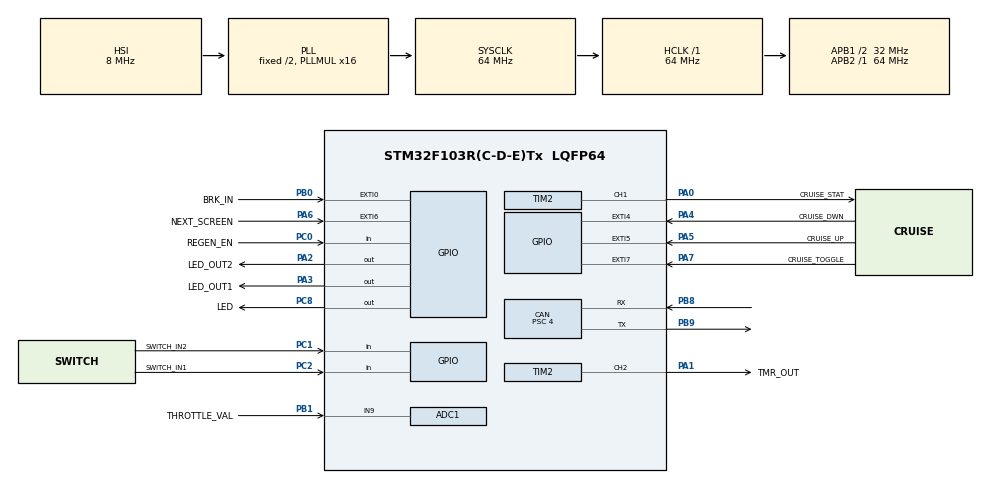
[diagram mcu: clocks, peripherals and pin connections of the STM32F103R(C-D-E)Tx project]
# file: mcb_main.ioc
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ADC1.Channel-1\#ChannelRegularConversion=ADC_CHANNEL_9
ADC1.NbrOfConversionFlag=1
ADC1.Rank-1\#ChannelRegularConversion=1
ADC1.SamplingTime-1\#ChannelRegularConversion=ADC_SAMPLETIME_1CYCLE_5
ADC1.master=1
CAN.BS1=CAN_BS1_13TQ
CAN.BS2=CAN_BS2_2TQ
CAN.CalculateBaudRate=500000
CAN.CalculateTimeBit=2000
CAN.CalculateTimeQuantum=125.0
CAN.Prescaler=4
FREERTOS.Tasks01=defaultTask,24,128,StartDefaultTask,Default,NULL,Dynamic,NULL,NULL;drive_state_machine,32,128,task_drive_state_machine,Default,NULL,Dynamic,NULL,NULL;GetCANMessage,24,128,getCANMessage,Default,NULL,Dynamic,NULL,NULL;generic_100ms,24,128,task_generic_100ms,Default,NULL,Dynamic,NULL,NULL
FREERTOS.configMAX_TASK_NAME_LEN=32
FREERTOS.configTOTAL_HEAP_SIZE=10000
IWDG.Reload=2000
Mcu.Family=STM32F1
Mcu.Name=STM32F103R(C-D-E)Tx
Mcu.Package=LQFP64
NVIC.EXTI0_IRQn=true\:5\:0\:false\:false\:true\:false\:true\:true\:true
NVIC.EXTI4_IRQn=true\:5\:0\:false\:false\:true\:false\:true\:true\:true
NVIC.EXTI9_5_IRQn=true\:5\:0\:false\:false\:true\:false\:true\:true\:true
NVIC.PriorityGroup=NVIC_PRIORITYGROUP_4
NVIC.TIM4_IRQn=true\:15\:0\:false\:false\:true\:false\:false\:true\:true
NVIC.TimeBase=TIM4_IRQn
NVIC.TimeBaseIP=TIM4
PA0-WKUP.GPIO_Label=CRUISE_STAT
PA0-WKUP.Signal=S_TIM2_CH1_ETR
PA1.GPIO_Label=TMR_OUT
PA1.Signal=S_TIM2_CH2
PA13.GPIO_Label=TMS
PA13.Mode=Serial_Wire
PA13.Signal=SYS_JTMS-SWDIO
PA14.GPIO_Label=TCK
PA14.Mode=Serial_Wire
PA14.Signal=SYS_JTCK-SWCLK
PA2.GPIO_Label=LED_OUT2
PA2.Signal=GPIO_Output
PA3.GPIO_Label=LED_OUT1
PA3.Signal=GPIO_Output
PA4.GPIO_Label=CRUISE_DWN
PA4.GPIO_PuPd=GPIO_PULLDOWN
PA4.Signal=GPXTI4
PA5.GPIO_Label=CRUISE_UP
PA5.GPIO_PuPd=GPIO_PULLDOWN
PA5.Signal=GPXTI5
PA6.GPIO_Label=NEXT_SCREEN
PA6.GPIO_PuPd=GPIO_PULLDOWN
PA6.Signal=GPXTI6
PA7.GPIO_Label=CRUISE_TOGGLE
PA7.GPIO_PuPd=GPIO_PULLDOWN
PA7.Signal=GPXTI7
PB0.GPIO_Label=BRK_IN
PB0.GPIO_PuPd=GPIO_PULLDOWN
PB0.Signal=GPXTI0
PB1.GPIO_Label=THROTTLE_VAL
PB1.Signal=ADCx_IN9
PB3.GPIO_Label=SWO
PB3.Signal=SYS_JTDO-TRACESWO
PB8.Mode=CAN_Activate
PB8.Signal=CAN_RX
PB9.Mode=CAN_Activate
PB9.Signal=CAN_TX
PC0.GPIO_Label=REGEN_EN
PC0.GPIO_PuPd=GPIO_PULLDOWN
PC0.Signal=GPIO_Input
PC1.GPIO_Label=SWITCH_IN2
PC1.GPIO_PuPd=GPIO_PULLUP
PC1.Signal=GPIO_Input
PC14-OSC32_IN.Mode=LSE-External-Oscillator
PC14-OSC32_IN.Signal=RCC_OSC32_IN
PC15-OSC32_OUT.Mode=LSE-External-Oscillator
PC15-OSC32_OUT.Signal=RCC_OSC32_OUT
PC2.GPIO_Label=SWITCH_IN1
PC2.GPIO_PuPd=GPIO_PULLUP
PC2.Signal=GPIO_Input
PC8.GPIO_Label=LED
PC8.Signal=GPIO_Output
PD0-OSC_IN.Mode=HSE-External-Clock-Source
PD0-OSC_IN.Signal=RCC_OSC_IN
PD1-OSC_OUT.Mode=HSE-External-Clock-Source
PD1-OSC_OUT.Signal=RCC_OSC_OUT
ProjectManager.HeapSize=0x200
ProjectManager.StackSize=0x400
ProjectManager.TargetToolchain=STM32CubeIDE
RCC.AHBFreq_Value=64000000
RCC.APB1CLKDivider=RCC_HCLK_DIV2
RCC.APB1Freq_Value=32000000
RCC.APB1TimFreq_Value=64000000
RCC.APB2Freq_Value=64000000
RCC.APB2TimFreq_Value=64000000
RCC.HCLKFreq_Value=64000000
RCC.PLLMUL=RCC_PLL_MUL16
RCC.SYSCLKFreq_VALUE=64000000
RCC.SYSCLKSource=RCC_SYSCLKSOURCE_PLLCLK
RCC.USBFreq_Value=64000000
SH.ADCx_IN9.0=ADC1_IN9,IN9
SH.S_TIM2_CH1_ETR.0=TIM2_CH1,PWM Generation1 CH1
SH.S_TIM2_CH2.0=TIM2_CH2,PWM Generation2 CH2
TIM2.Channel-PWM\ Generation1\ CH1=TIM_CHANNEL_1
TIM2.Channel-PWM\ Generation2\ CH2=TIM_CHANNEL_2
VP_FREERTOS_VS_CMSIS_V2.Mode=CMSIS_V2
VP_IWDG_VS_IWDG.Mode=IWDG_Activate
VP_SYS_VS_tim4.Mode=TIM4
board=custom

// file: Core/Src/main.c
/* USER CODE BEGIN Header */
/**
  ******************************************************************************
  * @file           : main.c
  * @brief          : Main program body
  ******************************************************************************
  * @attention
  *
  * Copyright (c) 2023 STMicroelectronics.
  * All rights reserved.
  *
  * This software is licensed under terms that can be found in the LICENSE file
  * in the root directory of this software component.
  * If no LICENSE file comes with this software, it is provided AS-IS.
  *
  ******************************************************************************
  */
/* USER CODE END Header */
#include "main.h"
#include "cmsis_os.h"
#include "adc.h"
#include "can.h"
#include "tim.h"
#include "wwdg.h"
#include "gpio.h"

/* USER CODE BEGIN PV */
CAN_FilterTypeDef CAN_filter0;
CAN_FilterTypeDef CAN_filter1;
CAN_FilterTypeDef CAN_filter2;

CAN_RxHeaderTypeDef CAN_rx_header;
uint8_t CAN_rx_data[8];
/* USER CODE END PV */

void SystemClock_Config(void);
void MX_FREERTOS_Init(void);

int main(void)
{

  /* MCU Configuration--------------------------------------------------------*/

  /* Reset of all peripherals, Initializes the Flash interface and the Systick. */
  HAL_Init();

  /* Configure the system clock */
  SystemClock_Config();

  /* Initialize all configured peripherals */
  MX_GPIO_Init();
  MX_CAN_Init();
  MX_ADC1_Init();
  MX_TIM2_Init();
  MX_WWDG_Init();
  /* USER CODE BEGIN 2 */

  CanFilterSetup();
  HAL_CAN_Start(&hcan);
  /* USER CODE END 2 */

  /* Init scheduler */
  osKernelInitialize();

  /* Call init function for freertos objects (in freertos.c) */
  MX_FREERTOS_Init();

  /* Start scheduler */
  osKernelStart();

  /* We should never get here as control is now taken by the scheduler */
  /* Infinite loop */
  while (1)
  {

  }
}

void SystemClock_Config(void)
{
  RCC_OscInitTypeDef RCC_OscInitStruct = {0};
  RCC_ClkInitTypeDef RCC_ClkInitStruct = {0};
  RCC_PeriphCLKInitTypeDef PeriphClkInit = {0};

  /** Initializes the RCC Oscillators according to the specified parameters
  * in the RCC_OscInitTypeDef structure.
  */
  RCC_OscInitStruct.OscillatorType = RCC_OSCILLATORTYPE_HSI;
  RCC_OscInitStruct.HSIState = RCC_HSI_ON;
  RCC_OscInitStruct.HSICalibrationValue = RCC_HSICALIBRATION_DEFAULT;
  RCC_OscInitStruct.PLL.PLLState = RCC_PLL_ON;
  RCC_OscInitStruct.PLL.PLLSource = RCC_PLLSOURCE_HSI_DIV2;
  RCC_OscInitStruct.PLL.PLLMUL = RCC_PLL_MUL16;
  if (HAL_RCC_OscConfig(&RCC_OscInitStruct) != HAL_OK)
  {
    Error_Handler();
  }

  /** Initializes the CPU, AHB and APB buses clocks
  */
  RCC_ClkInitStruct.ClockType = RCC_CLOCKTYPE_HCLK|RCC_CLOCKTYPE_SYSCLK
                              |RCC_CLOCKTYPE_PCLK1|RCC_CLOCKTYPE_PCLK2;
  RCC_ClkInitStruct.SYSCLKSource = RCC_SYSCLKSOURCE_PLLCLK;
  RCC_ClkInitStruct.AHBCLKDivider = RCC_SYSCLK_DIV1;
  RCC_ClkInitStruct.APB1CLKDivider = RCC_HCLK_DIV2;
  RCC_ClkInitStruct.APB2CLKDivider = RCC_HCLK_DIV1;

  if (HAL_RCC_ClockConfig(&RCC_ClkInitStruct, FLASH_LATENCY_2) != HAL_OK)
  {
    Error_Handler();
  }
  PeriphClkInit.PeriphClockSelection = RCC_PERIPHCLK_ADC;
  PeriphClkInit.AdcClockSelection = RCC_ADCPCLK2_DIV2;
  if (HAL_RCCEx_PeriphCLKConfig(&PeriphClkInit) != HAL_OK)
  {
    Error_Handler();
  }
}

void HAL_TIM_PeriodElapsedCallback(TIM_HandleTypeDef *htim)
{
  if (htim->Instance == TIM4) {
    HAL_IncTick();
  }
}

void Error_Handler(void)
{
  __disable_irq();
  while (1)
  {
  }
}

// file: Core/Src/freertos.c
/* USER CODE BEGIN Header */
/**
  ******************************************************************************
  * File Name          : freertos.c
  * Description        : Code for freertos applications
  ******************************************************************************
  * @attention
  *
  * Copyright (c) 2023 STMicroelectronics.
  * All rights reserved.
  *
  * This software is licensed under terms that can be found in the LICENSE file
  * in the root directory of this software component.
  * If no LICENSE file comes with this software, it is provided AS-IS.
  *
  ******************************************************************************
  */

/* USER CODE END Header */

#include "FreeRTOS.h"
#include "task.h"
#include "main.h"
#include "cmsis_os.h"

/* USER CODE BEGIN Includes */
#include "mcb.h"
#include "can.h"
#include "iwdg.h"
/* USER CODE END Includes */

/* USER CODE BEGIN Variables */
uint16_t ADC_throttle_val;
uint16_t ADC_regen_val;

GPIO_PinState Reverse;
GPIO_PinState Park;
GPIO_PinState Drive;
GPIO_PinState Regen;

/*
 *  These are global so I can view their value in the Live Expressions tab, will move to task later.
 */
float current;
float velocity;

/* USER CODE END Variables */
/* Definitions for defaultTask */
osThreadId_t defaultTaskHandle;
const osThreadAttr_t defaultTask_attributes = {
  .name = "defaultTask",
  .stack_size = 128 * 4,
  .priority = (osPriority_t) osPriorityNormal,
};
/* Definitions for drive_state_machine */
osThreadId_t drive_state_machineHandle;
const osThreadAttr_t drive_state_machine_attributes = {
  .name = "drive_state_machine",
  .stack_size = 128 * 4,
  .priority = (osPriority_t) osPriorityAboveNormal,
};
/* Definitions for GetCANMessage */
osThreadId_t GetCANMessageHandle;
const osThreadAttr_t GetCANMessage_attributes = {
  .name = "GetCANMessage",
  .stack_size = 128 * 4,
  .priority = (osPriority_t) osPriorityNormal,
};
/* Definitions for generic_100ms */
osThreadId_t generic_100msHandle;
const osThreadAttr_t generic_100ms_attributes = {
  .name = "generic_100ms",
  .stack_size = 128 * 4,
  .priority = (osPriority_t) osPriorityNormal,
};

void StartDefaultTask(void *argument);
void task_drive_state_machine(void *argument);
void getCANMessage(void *argument);
void task_generic_100ms(void *argument);

void MX_FREERTOS_Init(void); /* (MISRA C 2004 rule 8.1) */

void MX_FREERTOS_Init(void) {

  /* Create the thread(s) */
  /* creation of defaultTask */
  defaultTaskHandle = osThreadNew(StartDefaultTask, NULL, &defaultTask_attributes);

  /* creation of drive_state_machine */
  drive_state_machineHandle = osThreadNew(task_drive_state_machine, NULL, &drive_state_machine_attributes);

  /* creation of GetCANMessage */
  GetCANMessageHandle = osThreadNew(getCANMessage, NULL, &GetCANMessage_attributes);

  /* creation of generic_100ms */
  generic_100msHandle = osThreadNew(task_generic_100ms, NULL, &generic_100ms_attributes);

}

void StartDefaultTask(void *argument)
{
  /* USER CODE BEGIN StartDefaultTask */
  /* Infinite loop */
  for(;;)
  {
	//  HAL_GPIO_TogglePin(LED_OUT1_GPIO_Port, LED_OUT1_Pin);
	//  HAL_GPIO_TogglePin(LED_OUT2_GPIO_Port, LED_OUT2_Pin);
	 HAL_IWDG_Refresh(&hiwdg);
	 osDelay(100);
  }
  /* USER CODE END StartDefaultTask */
}

void task_drive_state_machine(void *argument)
{
  /* USER CODE BEGIN task_drive_state_machine */
  /* Infinite loop */
  for(;;)
  {
    taskENTER_CRITICAL();

    drive_state_machine_handler();

    taskEXIT_CRITICAL();
	  osDelay(DELAY_MCB_STATE_MACHINE);
  }
  /* USER CODE END task_drive_state_machine */
}

void getCANMessage(void *argument)
{
  /* USER CODE BEGIN getCANMessage */
	TaskGetCANMessage();
  /* USER CODE END getCANMessage */
}

void task_generic_100ms(void *argument)
{
  /* USER CODE BEGIN task_generic_100ms */
  /* Infinite loop */
  for(;;)
  {
    // Sends MCB drive state
    SendCANDIDDriveState();

    // Sends MCB diagnostics
    send_mcb_diagnostics();

    osDelay(100);
  }
  /* USER CODE END task_generic_100ms */
}
